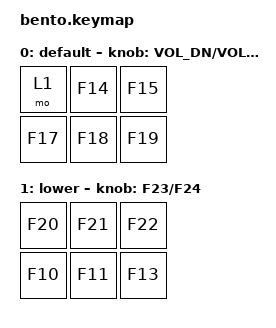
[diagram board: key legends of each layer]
/*
 * Copyright (c) 2021 Dan Thomas
 *
 * SPDX-License-Identifier: MIT
 */

#include <behaviors.dtsi>
#include <dt-bindings/zmk/keys.h>
#include <dt-bindings/zmk/bt.h>

#define TIMEOUT 300

&encoder_1 {
    status = "okay";
};


/ {

    combos {
    compatible = "zmk,combos";
    combo_sel_0 {
        timeout-ms = <TIMEOUT>;
        key-positions = <0 1>;
        bindings = <&bt BT_SEL 0>;
    };
    combo_reset {
        timeout-ms = <TIMEOUT>;
        key-positions = <0 2>;
        bindings = <&sys_reset>;
    };
    combo_clear {
        timeout-ms = <TIMEOUT>;
        key-positions = <0 3>;
        bindings = <&bt BT_CLR>;
    };
    combo_bootloader {
        timeout-ms = <TIMEOUT>;
        key-positions = <0 4>;
        bindings = <&bootloader>;
    };
    combo_bt_nxt {
        timeout-ms = <TIMEOUT>;
        key-positions = <0 5>;
        bindings = <&bt BT_NXT>;
    };
};

    sensors {
        compatible = "zmk,keymap-sensors";
        sensors = <&encoder_1>;
        triggers-per-rotation = <20>;
    };


    keymap {
        compatible = "zmk,keymap";

        default {
           bindings = <
                &mo 1   &kp F14 &kp F15
                &kp F17 &kp F18 &kp F19
            >;
        sensor-bindings = <&inc_dec_kp C_VOL_DN C_VOL_UP>;
        };

        lower {
           bindings = <
                &kp F20 &kp F21 &kp F22
                &kp F10 &kp F11 &kp F13
            >;
        sensor-bindings = <&inc_dec_kp F23 F24>;
        };
	};
};
